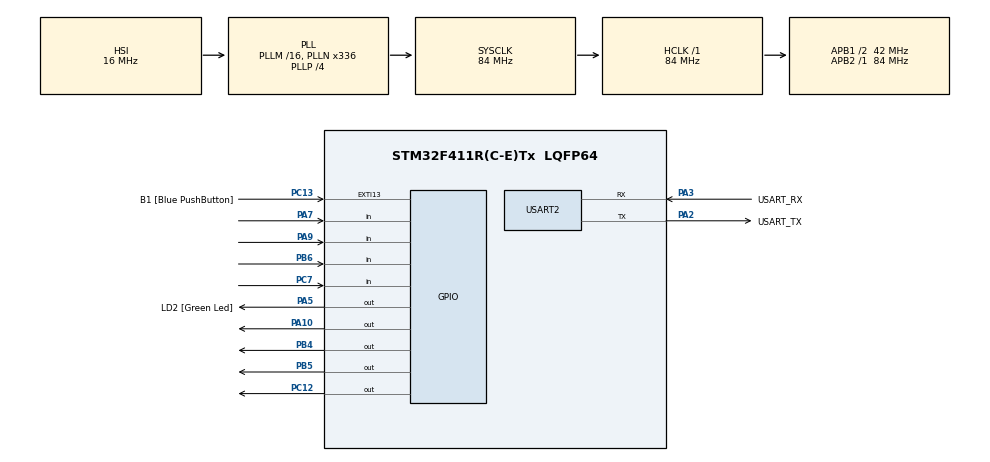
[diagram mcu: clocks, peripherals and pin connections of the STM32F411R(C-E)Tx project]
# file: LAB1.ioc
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Mcu.Family=STM32F4
Mcu.Name=STM32F411R(C-E)Tx
Mcu.Package=LQFP64
NVIC.PriorityGroup=NVIC_PRIORITYGROUP_0
PA10.GPIO_ModeDefaultOutputPP=GPIO_MODE_OUTPUT_OD
PA10.GPIO_PuPd=GPIO_NOPULL
PA10.Signal=GPIO_Output
PA13.GPIO_Label=TMS
PA13.Mode=Serial_Wire
PA13.Signal=SYS_JTMS-SWDIO
PA14.GPIO_Label=TCK
PA14.Mode=Serial_Wire
PA14.Signal=SYS_JTCK-SWCLK
PA2.GPIO_Label=USART_TX
PA2.Mode=Asynchronous
PA2.Signal=USART2_TX
PA3.GPIO_Label=USART_RX
PA3.Mode=Asynchronous
PA3.Signal=USART2_RX
PA5.GPIO_Label=LD2 [Green Led]
PA5.Signal=GPIO_Output
PA7.GPIO_PuPd=GPIO_PULLUP
PA7.Signal=GPIO_Input
PA9.GPIO_PuPd=GPIO_PULLUP
PA9.Signal=GPIO_Input
PB3.Signal=SYS_JTDO-SWO
PB4.GPIO_ModeDefaultOutputPP=GPIO_MODE_OUTPUT_OD
PB4.GPIO_PuPd=GPIO_NOPULL
PB4.Signal=GPIO_Output
PB5.GPIO_ModeDefaultOutputPP=GPIO_MODE_OUTPUT_OD
PB5.GPIO_PuPd=GPIO_NOPULL
PB5.Signal=GPIO_Output
PB6.GPIO_PuPd=GPIO_PULLUP
PB6.Signal=GPIO_Input
PC12.GPIO_ModeDefaultOutputPP=GPIO_MODE_OUTPUT_OD
PC12.GPIO_PuPd=GPIO_NOPULL
PC12.Signal=GPIO_Output
PC13-ANTI_TAMP.GPIO_Label=B1 [Blue PushButton]
PC13-ANTI_TAMP.GPIO_ModeDefaultEXTI=GPIO_MODE_IT_FALLING
PC13-ANTI_TAMP.GPIO_PuPd=GPIO_NOPULL
PC13-ANTI_TAMP.Signal=GPXTI13
PC14-OSC32_IN.Mode=LSE-External-Oscillator
PC14-OSC32_IN.Signal=RCC_OSC32_IN
PC15-OSC32_OUT.Mode=LSE-External-Oscillator
PC15-OSC32_OUT.Signal=RCC_OSC32_OUT
PC7.GPIO_PuPd=GPIO_PULLUP
PC7.Signal=GPIO_Input
PH0\ -\ OSC_IN.Mode=HSE-External-Clock-Source
PH0\ -\ OSC_IN.Signal=RCC_OSC_IN
PH1\ -\ OSC_OUT.Mode=HSE-External-Clock-Source
PH1\ -\ OSC_OUT.Signal=RCC_OSC_OUT
ProjectManager.HeapSize=0x200
ProjectManager.StackSize=0x400
ProjectManager.TargetToolchain=STM32CubeIDE
RCC.48MHZClocksFreq_Value=84000000
RCC.AHBFreq_Value=84000000
RCC.APB1CLKDivider=RCC_HCLK_DIV2
RCC.APB1Freq_Value=42000000
RCC.APB1TimFreq_Value=84000000
RCC.APB2Freq_Value=84000000
RCC.APB2TimFreq_Value=84000000
RCC.CortexFreq_Value=84000000
RCC.FLatency-AdvancedSettings=FLASH_LATENCY_2
RCC.HCLKFreq_Value=84000000
RCC.HSE_VALUE=8000000
RCC.HSI_VALUE=16000000
RCC.PLLN=336
RCC.PLLP=RCC_PLLP_DIV4
RCC.SYSCLKFreq_VALUE=84000000
RCC.SYSCLKSource=RCC_SYSCLKSOURCE_PLLCLK
RCC.VCOOutputFreq_Value=336000000
USART2.VirtualMode=VM_ASYNC
board=NUCLEO-F411RE

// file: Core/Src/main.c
/* USER CODE BEGIN Header */
/**
  ******************************************************************************
  * @file           : main.c
  * @brief          : Main program body
  ******************************************************************************
  * @attention
  *
  * Copyright (c) 2023 STMicroelectronics.
  * All rights reserved.
  *
  * This software is licensed under terms that can be found in the LICENSE file
  * in the root directory of this software component.
  * If no LICENSE file comes with this software, it is provided AS-IS.
  *
  ******************************************************************************
  */
/* USER CODE END Header */
#include "main.h"

UART_HandleTypeDef huart2;

void SystemClock_Config(void);
static void MX_GPIO_Init(void);
static void MX_USART2_UART_Init(void);

/* USER CODE BEGIN 0 */
typedef struct
{
	GPIO_TypeDef* PORT;
	uint16_t PIN;
}PortPin;

uint16_t ButtonMatrix = 0;
uint16_t CheckButton = 0;

PortPin R[4] =
{
		{ GPIOA, GPIO_PIN_10 },
		{ GPIOC, GPIO_PIN_12 },
		{ GPIOB,GPIO_PIN_5 },
		{ GPIOB, GPIO_PIN_4 }
};
PortPin L[4] =
{
		{ GPIOA, GPIO_PIN_9 },
		{ GPIOC, GPIO_PIN_7 },
		{ GPIOB,GPIO_PIN_6 },
		{ GPIOA, GPIO_PIN_7 }
};

int State = 0;

void ReadMatrixButton_1Row()
{
    static uint8_t X = 0;
    register int i;
    for (i = 0; i < 4; i++)
    {
        if (HAL_GPIO_ReadPin(L[i].PORT, L[i].PIN))
        {
            ButtonMatrix = ButtonMatrix & ~(1 << (X * 4 + i));
            // i=0 x=0
            // ~(1<< 0)
            // ~1
            // ~0b0000000000000001
            //  0b1111111111111111

        }
        else
        {
            ButtonMatrix |= 1 << (X * 4 + i);
            //
        }
    }
    HAL_GPIO_WritePin(R[X].PORT, R[X].PIN, 1);
    HAL_GPIO_WritePin(R[(X + 1) % 4].PORT, R[(X + 1) % 4].PIN, 0);
    X++;
    X %= 4;
}
/* USER CODE END 0 */

int main(void)
{
  /* USER CODE BEGIN 1 */
	uint32_t time = 0;

  /* USER CODE END 1 */

  /* MCU Configuration--------------------------------------------------------*/

  /* Reset of all peripherals, Initializes the Flash interface and the Systick. */
  HAL_Init();

  /* Configure the system clock */
  SystemClock_Config();

  /* Initialize all configured peripherals */
  MX_GPIO_Init();
  MX_USART2_UART_Init();

  /* Infinite loop */
  while (1)
  {

    /* USER CODE BEGIN 3 */
	  if(time < HAL_GetTick()) // check timer is over 1000us
		  {
		  	  time = HAL_GetTick()+ 100;     //set new time stamp
		  	  ReadMatrixButton_1Row();
		  	  if(CheckButton == 0 && ButtonMatrix > 0)
		  	  {
				  switch(State)
				  {
					  case 0:
						  if(ButtonMatrix == 512)
						  {
							  State = 1;
						  }
						  else
						  {
							  State = 13;
						  }
						  break;
					  case 1:
						  if(ButtonMatrix == 2)
						  {
							  State = 2;
						  }
						  else
						  {
							  State = 13;
						  }
						  break;
					  case 2:
						  if(ButtonMatrix == 1024)
						  {
							  State = 3;
						  }
						  else
						  {
							  State = 13;
						  }
						  break;
					  case 3:
						  if(ButtonMatrix == 2)
						  {
							  State = 4;
						  }
						  else
						  {
							  State = 13;
						  }
						  break;
					  case 4:
						  if(ButtonMatrix == 8)
						  {
							  State = 5;
						  }
						  else
						  {
							  State = 13;
						  }
						  break;
					  case 5:
						  if(ButtonMatrix == 32)
						  {
							  State = 6;
						  }
						  else
						  {
							  State = 13;
						  }
						  break ;
					  case 6:
					  	  if(ButtonMatrix == 8)
						  {
							  State = 7;
						  }
						  else
						  {
							  State = 13;
						  }
						  break ;
					  case 7:
						  if(ButtonMatrix == 8)
						  {
							  State = 8;
						  }
						  else
						  {
							  State = 13;
						  }
						  break ;
					  case 8:
						  if(ButtonMatrix == 8)
						  {
							  State = 9;
						  }
						  else
						  {
							  State = 13;
						  }
						  break ;
					  case 9:
						  if(ButtonMatrix == 1)
						  {
							  State = 10;
						  }
						  else
						  {
							  State = 13;
						  }
						  break ;
					  case 10:
						  if(ButtonMatrix == 16)
						  {
							  State = 11;
						  }
						  else
						  {
							  State = 13;
						  }
						  break ;
					  case 11:
						  if(ButtonMatrix == 32768)
						  {
							  HAL_GPIO_WritePin(GPIOA, GPIO_PIN_5, GPIO_PIN_SET);
							  State = 12;
						  }
						  else
						  {
							  State = 13;
						  }
						  break ;
					  case 12:
						  if(ButtonMatrix == 4096)
						  {
							  HAL_GPIO_WritePin(GPIOA, GPIO_PIN_5, GPIO_PIN_RESET);
							  State = 0;
						  }
						  else
						  {
							  State = 13;
						  }
						  break ;
					  case 13:
						  if ( ButtonMatrix == 4096)
						  {
							  State = 0;
						  }
						  break ;
				  }
		  	  }
		  	  CheckButton = ButtonMatrix;
		  }
  /* USER CODE END 3 */
  }
}

void SystemClock_Config(void)
{
  RCC_OscInitTypeDef RCC_OscInitStruct = {0};
  RCC_ClkInitTypeDef RCC_ClkInitStruct = {0};

  /** Configure the main internal regulator output voltage
  */
  __HAL_RCC_PWR_CLK_ENABLE();
  __HAL_PWR_VOLTAGESCALING_CONFIG(PWR_REGULATOR_VOLTAGE_SCALE1);

  /** Initializes the RCC Oscillators according to the specified parameters
  * in the RCC_OscInitTypeDef structure.
  */
  RCC_OscInitStruct.OscillatorType = RCC_OSCILLATORTYPE_HSI;
  RCC_OscInitStruct.HSIState = RCC_HSI_ON;
  RCC_OscInitStruct.HSICalibrationValue = RCC_HSICALIBRATION_DEFAULT;
  RCC_OscInitStruct.PLL.PLLState = RCC_PLL_ON;
  RCC_OscInitStruct.PLL.PLLSource = RCC_PLLSOURCE_HSI;
  RCC_OscInitStruct.PLL.PLLM = 16;
  RCC_OscInitStruct.PLL.PLLN = 336;
  RCC_OscInitStruct.PLL.PLLP = RCC_PLLP_DIV4;
  RCC_OscInitStruct.PLL.PLLQ = 4;
  if (HAL_RCC_OscConfig(&RCC_OscInitStruct) != HAL_OK)
  {
    Error_Handler();
  }

  /** Initializes the CPU, AHB and APB buses clocks
  */
  RCC_ClkInitStruct.ClockType = RCC_CLOCKTYPE_HCLK|RCC_CLOCKTYPE_SYSCLK
                              |RCC_CLOCKTYPE_PCLK1|RCC_CLOCKTYPE_PCLK2;
  RCC_ClkInitStruct.SYSCLKSource = RCC_SYSCLKSOURCE_PLLCLK;
  RCC_ClkInitStruct.AHBCLKDivider = RCC_SYSCLK_DIV1;
  RCC_ClkInitStruct.APB1CLKDivider = RCC_HCLK_DIV2;
  RCC_ClkInitStruct.APB2CLKDivider = RCC_HCLK_DIV1;

  if (HAL_RCC_ClockConfig(&RCC_ClkInitStruct, FLASH_LATENCY_2) != HAL_OK)
  {
    Error_Handler();
  }
}

static void MX_USART2_UART_Init(void)
{

  huart2.Instance = USART2;
  huart2.Init.BaudRate = 115200;
  huart2.Init.WordLength = UART_WORDLENGTH_8B;
  huart2.Init.StopBits = UART_STOPBITS_1;
  huart2.Init.Parity = UART_PARITY_NONE;
  huart2.Init.Mode = UART_MODE_TX_RX;
  huart2.Init.HwFlowCtl = UART_HWCONTROL_NONE;
  huart2.Init.OverSampling = UART_OVERSAMPLING_16;
  if (HAL_UART_Init(&huart2) != HAL_OK)
  {
    Error_Handler();
  }

}

static void MX_GPIO_Init(void)
{
  GPIO_InitTypeDef GPIO_InitStruct = {0};

  /* GPIO Ports Clock Enable */
  __HAL_RCC_GPIOC_CLK_ENABLE();
  __HAL_RCC_GPIOH_CLK_ENABLE();
  __HAL_RCC_GPIOA_CLK_ENABLE();
  __HAL_RCC_GPIOB_CLK_ENABLE();

  /*Configure GPIO pin Output Level */
  HAL_GPIO_WritePin(GPIOA, LD2_Pin|GPIO_PIN_10, GPIO_PIN_RESET);

  /*Configure GPIO pin Output Level */
  HAL_GPIO_WritePin(GPIOC, GPIO_PIN_12, GPIO_PIN_RESET);

  /*Configure GPIO pin Output Level */
  HAL_GPIO_WritePin(GPIOB, GPIO_PIN_4|GPIO_PIN_5, GPIO_PIN_RESET);

  /*Configure GPIO pin : B1_Pin */
  GPIO_InitStruct.Pin = B1_Pin;
  GPIO_InitStruct.Mode = GPIO_MODE_IT_FALLING;
  GPIO_InitStruct.Pull = GPIO_NOPULL;
  HAL_GPIO_Init(B1_GPIO_Port, &GPIO_InitStruct);

  /*Configure GPIO pin : LD2_Pin */
  GPIO_InitStruct.Pin = LD2_Pin;
  GPIO_InitStruct.Mode = GPIO_MODE_OUTPUT_PP;
  GPIO_InitStruct.Pull = GPIO_NOPULL;
  GPIO_InitStruct.Speed = GPIO_SPEED_FREQ_LOW;
  HAL_GPIO_Init(LD2_GPIO_Port, &GPIO_InitStruct);

  /*Configure GPIO pins : PA7 PA9 */
  GPIO_InitStruct.Pin = GPIO_PIN_7|GPIO_PIN_9;
  GPIO_InitStruct.Mode = GPIO_MODE_INPUT;
  GPIO_InitStruct.Pull = GPIO_PULLUP;
  HAL_GPIO_Init(GPIOA, &GPIO_InitStruct);

  /*Configure GPIO pin : PC7 */
  GPIO_InitStruct.Pin = GPIO_PIN_7;
  GPIO_InitStruct.Mode = GPIO_MODE_INPUT;
  GPIO_InitStruct.Pull = GPIO_PULLUP;
  HAL_GPIO_Init(GPIOC, &GPIO_InitStruct);

  /*Configure GPIO pin : PA10 */
  GPIO_InitStruct.Pin = GPIO_PIN_10;
  GPIO_InitStruct.Mode = GPIO_MODE_OUTPUT_OD;
  GPIO_InitStruct.Pull = GPIO_NOPULL;
  GPIO_InitStruct.Speed = GPIO_SPEED_FREQ_LOW;
  HAL_GPIO_Init(GPIOA, &GPIO_InitStruct);

  /*Configure GPIO pin : PC12 */
  GPIO_InitStruct.Pin = GPIO_PIN_12;
  GPIO_InitStruct.Mode = GPIO_MODE_OUTPUT_OD;
  GPIO_InitStruct.Pull = GPIO_NOPULL;
  GPIO_InitStruct.Speed = GPIO_SPEED_FREQ_LOW;
  HAL_GPIO_Init(GPIOC, &GPIO_InitStruct);

  /*Configure GPIO pins : PB4 PB5 */
  GPIO_InitStruct.Pin = GPIO_PIN_4|GPIO_PIN_5;
  GPIO_InitStruct.Mode = GPIO_MODE_OUTPUT_OD;
  GPIO_InitStruct.Pull = GPIO_NOPULL;
  GPIO_InitStruct.Speed = GPIO_SPEED_FREQ_LOW;
  HAL_GPIO_Init(GPIOB, &GPIO_InitStruct);

  /*Configure GPIO pin : PB6 */
  GPIO_InitStruct.Pin = GPIO_PIN_6;
  GPIO_InitStruct.Mode = GPIO_MODE_INPUT;
  GPIO_InitStruct.Pull = GPIO_PULLUP;
  HAL_GPIO_Init(GPIOB, &GPIO_InitStruct);

}

void Error_Handler(void)
{
  __disable_irq();
  while (1)
  {
  }
}
